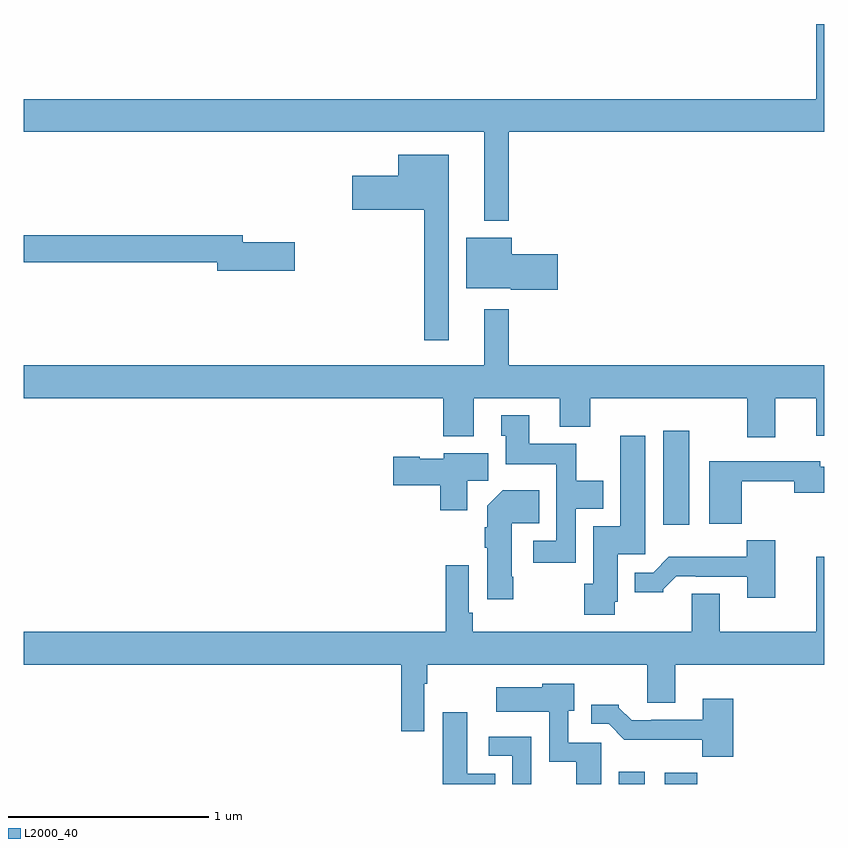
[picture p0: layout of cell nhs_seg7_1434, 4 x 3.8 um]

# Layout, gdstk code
import gdstk
lib = gdstk.Library(unit=1e-6, precision=1e-09)
def R(c, l, rs):  # rectangles x0, y0, x1, y1
    for r in rs: c.add(gdstk.rectangle(r[:2], r[2:], *l))
def P(c, l, *ps):  # polygons
    for p in ps: c.add(gdstk.Polygon(p, *l))
L2000_40 = (2000, 40)

nhs_seg7_1434 = lib.new_cell('nhs_seg7_1434')
R(nhs_seg7_1434, L2000_40, [(211.973,1020,212.104,1020.061), (212.204,1020,212.366,1020.055), (212.195,1021.296,212.326,1021.765)])
P(nhs_seg7_1434, L2000_40, [(211.423,1023.26),(213,1023.26),(213,1023.799),(212.96,1023.799),(212.96,1023.424),(209,1023.424),(209,1023.26),(211.301,1023.26),(211.301,1022.816),(211.423,1022.816)],
  [(211.123,1023.145),(210.872,1023.145),(210.872,1023.04),(210.642,1023.04),(210.642,1022.87),(211.002,1022.87),(211.002,1022.217),(211.123,1022.217)],
  [(210.355,1022.708),(210.094,1022.708),(210.094,1022.744),(209,1022.744),(209,1022.608),(209.966,1022.608),(209.966,1022.566),(210.355,1022.566)],
  [(211.669,1022.648),(211.438,1022.648),(211.438,1022.731),(211.211,1022.731),(211.211,1022.477),(211.434,1022.477),(211.434,1022.47),(211.669,1022.47)],
  [(211.301,1022.374),(211.301,1022.092),(209,1022.092),(209,1021.928),(211.097,1021.928),(211.097,1021.739),(211.249,1021.739),(211.249,1021.928),(211.679,1021.928),(211.679,1021.787),(211.832,1021.787),(211.832,1021.928),(212.615,1021.928),(212.615,1021.734),(212.755,1021.734),(212.755,1021.928),(212.96,1021.928),(212.96,1021.74),(213,1021.74),(213,1022.092),(211.423,1022.092),(211.423,1022.374)],
  [(211.758,1021.376),(211.897,1021.376),(211.897,1021.516),(211.761,1021.516),(211.761,1021.702),(211.525,1021.702),(211.525,1021.843),(211.385,1021.843),(211.385,1021.74),(211.409,1021.74),(211.409,1021.598),(211.662,1021.598),(211.662,1021.215),(211.545,1021.215),(211.545,1021.107),(211.758,1021.107)],
  [(211.953,1020.912),(211.969,1020.912),(211.969,1021.149),(212.107,1021.149),(212.107,1021.741),(211.982,1021.741),(211.982,1021.288),(211.847,1021.288),(211.847,1021.002),(211.801,1021.002),(211.801,1020.846),(211.953,1020.846)],
  [(211.216,1021.516),(211.321,1021.516),(211.321,1021.654),(211.098,1021.654),(211.098,1021.627),(210.978,1021.627),(210.978,1021.635),(210.846,1021.635),(210.846,1021.493),(211.082,1021.493),(211.082,1021.368),(211.216,1021.368)],
  [(212.588,1021.513),(212.852,1021.513),(212.852,1021.456),(213,1021.456),(213,1021.585),(212.98,1021.585),(212.98,1021.614),(212.426,1021.614),(212.426,1021.301),(212.588,1021.301)],
  [(211.446,1021.036),(211.438,1021.036),(211.438,1021.304),(211.577,1021.304),(211.577,1021.468),(211.394,1021.468),(211.316,1021.39),(211.316,1021.283),(211.304,1021.283),(211.304,1021.18),(211.316,1021.18),(211.316,1020.924),(211.446,1020.924)],
  [(212.755,1021.219),(212.613,1021.219),(212.613,1021.135),(212.224,1021.135),(212.145,1021.056),(212.054,1021.056),(212.054,1020.959),(212.196,1020.959),(212.196,1020.974),(212.26,1021.038),(212.359,1021.038),(212.359,1021.035),(212.615,1021.035),(212.615,1020.93),(212.755,1020.93)],
  [(213,1021.135),(212.96,1021.135),(212.96,1020.76),(212.479,1020.76),(212.479,1020.95),(212.339,1020.95),(212.339,1020.76),(211.244,1020.76),(211.244,1020.856),(211.224,1020.856),(211.224,1021.093),(211.108,1021.093),(211.108,1020.76),(209,1020.76),(209,1020.596),(210.886,1020.596),(210.886,1020.264),(211.002,1020.264),(211.002,1020.5),(211.015,1020.5),(211.015,1020.596),(212.117,1020.596),(212.117,1020.406),(212.257,1020.406),(212.257,1020.596),(213,1020.596)],
  [(211.885,1020.207),(211.722,1020.207),(211.722,1020.366),(211.75,1020.366),(211.75,1020.502),(211.59,1020.502),(211.59,1020.484),(211.362,1020.484),(211.362,1020.362),(211.626,1020.362),(211.626,1020.11),(211.76,1020.11),(211.76,1020),(211.885,1020)],
  [(212.546,1020.427),(212.393,1020.427),(212.393,1020.321),(212.137,1020.321),(212.137,1020.318),(212.038,1020.318),(211.974,1020.382),(211.974,1020.397),(211.835,1020.397),(211.835,1020.3),(211.923,1020.3),(212.002,1020.222),(212.391,1020.222),(212.391,1020.137),(212.546,1020.137)],
  [(211.355,1020.052),(211.216,1020.052),(211.216,1020.358),(211.094,1020.358),(211.094,1020),(211.355,1020)],
  [(211.536,1020.237),(211.323,1020.237),(211.323,1020.141),(211.44,1020.141),(211.44,1020),(211.536,1020)])

lib.write_gds('nhs_seg7_1434.gds')
